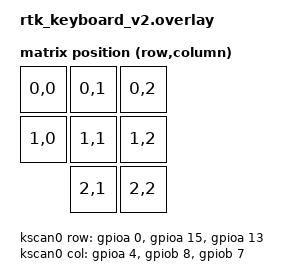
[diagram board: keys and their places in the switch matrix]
#include <dt-bindings/zmk/matrix_transform.h>
#include <dt-bindings/led/led.h>
#include <zephyr/dt-bindings/gpio/realtek-rtl87x2g-gpio.h>

&gpioa {
    status = "okay";
};
&gpiob {
    status = "okay";
};
&usb {
    status = "okay";
};
&timer2 {
    status = "okay";
    prescaler = <1>;
    pwm2: pwm2 {
        status = "okay";
        pinctrl-0 = <&pwm2_default>;
        pinctrl-names = "default";
    };
};
&timer3 {
    status = "okay";
    prescaler = <1>;
    pwm3: pwm3 {
        status = "okay";
        pinctrl-0 = <&pwm3_default>;
        pinctrl-names = "default";
    };
};

&timer4 {
    status = "okay";
    prescaler = <1>;
    pwm4: pwm4 {
        status = "okay";
        pinctrl-0 = <&pwm4_default>;
        pinctrl-names = "default";
    };
};

&corewdt {
    status = "okay";
    initial-timeout-ms = <5000>;
};

/ {
    aliases {
        watchdog = &corewdt;
    };
};

&pinctrl {
    pwm2_default: pwm2_default {
        group1 {
            psels = <RTL87X2G_PSEL(TIMER_PWM2, P2_4,DIR_OUT, DRV_LOW, PULL_DOWN)>;
        };
    };
    pwm3_default: pwm3_default {
        group1 {
            psels = <RTL87X2G_PSEL(TIMER_PWM3, P2_3,DIR_OUT, DRV_LOW, PULL_DOWN)>;
        };
    };
    pwm4_default: pwm4_default {
        group1 {
            psels = <RTL87X2G_PSEL(TIMER_PWM4, P9_3,DIR_OUT, DRV_LOW, PULL_DOWN)>;
        };
    };
};

&adc {
    pinctrl-0 = <&adc_default>;
    pinctrl-names = "default";
    #address-cells = <1>;
    #size-cells = <0>;
    status = "okay";
    is-bypass-mode = <0x4>;
    channel@2 {
        reg = <2>;
        zephyr,gain = "ADC_GAIN_1";
        zephyr,reference = "ADC_REF_INTERNAL";
        zephyr,acquisition-time = <ADC_ACQ_TIME_DEFAULT>;
        zephyr,resolution = <12>;
    };
};
/ {
    chosen {
        zmk,kscan = &kscan0;
        zmk,matrix-transform = &default_transform;
        zmk,battery = &vbatt;
        //zmk,backlight = &backlight;
    };

    vbatt: vbatt {
        compatible = "zmk,battery-voltage-divider";
        io-channels = <&adc 2>;
        output-ohms = <100000>;
        full-ohms = <(100000 + 100000)>;
    };

    battery_pwm_leds: pwmleds {
        compatible = "pwm-leds";
        pwm_led_0 {
            pwms = <&pwm2 0 10000 PWM_POLARITY_INVERTED>;
        };
        pwm_led_1 {
            pwms = <&pwm3 0 10000 PWM_POLARITY_INVERTED>;
        };
        pwm_led_2 {
            pwms = <&pwm4 0 10000 PWM_POLARITY_INVERTED>;
        };
    };

    mode_monitor: mode_monitor {
        compatible = "zmk,mode-monitor-pin";
        ble-gpios = <&gpioa 9 (GPIO_ACTIVE_HIGH | RTL87X2G_GPIO_INPUT_DEBOUNCE_MS(8))>;
        ppt-gpios = <&gpioa 8 (GPIO_ACTIVE_HIGH | RTL87X2G_GPIO_INPUT_DEBOUNCE_MS(8))>;
        detect-usb-gpios = <&gpiob 28 (GPIO_ACTIVE_HIGH | RTL87X2G_GPIO_INPUT_DEBOUNCE_MS(20))>;
        win2mac-gpios = <&gpioa 31 (GPIO_ACTIVE_HIGH | RTL87X2G_GPIO_INPUT_DEBOUNCE_MS(8))>;
        mptest-gpios = <&gpioa 25 GPIO_ACTIVE_HIGH>,
                       <&gpioa 24 GPIO_ACTIVE_HIGH>;
    };

    ppt: ppt {
        compatible = "zmk,ppt-node";
        enh-timers = <&timer8 &timer9>;
        status = "okay";
    };

    gpio_leds: gpio_leds {
        compatible = "zmk,gpio-leds-all";
        pwr-gpios = <&gpiob 29 GPIO_ACTIVE_HIGH>;
        cap-gpios = <&gpioa 16 GPIO_ACTIVE_HIGH>;
        num-gpios = <&gpioa 28 GPIO_ACTIVE_HIGH>;
        ble-gpios = <&gpioa 27 GPIO_ACTIVE_HIGH>;
        ppt-gpios = <&gpioa 26 GPIO_ACTIVE_HIGH>;
        other-gpios = <&gpioa 25 GPIO_ACTIVE_HIGH>,
                      <&gpioa 24 GPIO_ACTIVE_HIGH>,
                      <&gpioa 23 GPIO_ACTIVE_HIGH>;
    };

    default_transform: matrix_transform {
        compatible = "zmk,matrix-transform";
        rows = <3>;
        columns = <3>;
        map = <
            RC(0,0) RC(0,1) RC(0,2) //RC(0,3) RC(0,4) RC(0,5) RC(0,6) RC(0,7) RC(0,8)          RC(0,10) RC(0,11) RC(0,12) RC(0,13) RC(0,14)
            RC(1,0) RC(1,1) RC(1,2) //RC(1,3) RC(1,4) RC(1,5) RC(1,6) RC(1,7)         RC(1,9)  RC(1,10) RC(1,11) RC(1,12) RC(1,13) RC(1,14) RC(1,15)
                    RC(2,1) RC(2,2) //RC(2,3) RC(2,4) RC(2,5) RC(2,6) RC(2,7) RC(2,8) RC(2,9)  RC(2,10) RC(2,11) RC(2,12) RC(2,13)          RC(2,15)
            //RC(3,0) RC(3,1)         RC(3,3) RC(3,4) RC(3,5) RC(3,6) RC(3,7) RC(3,8) RC(3,9)  RC(3,10) RC(3,11) RC(3,12) RC(3,13)
            //RC(4,0) RC(4,1) RC(4,2) RC(4,3) RC(4,4) RC(4,5) RC(4,6)                 RC(4,9)  RC(4,10) RC(4,11) RC(4,12) RC(4,13)
            //RC(5,0)                         RC(5,4) RC(5,5)         RC(5,7) RC(5,8) RC(5,9)  RC(5,10) RC(5,11) RC(5,12) RC(5,13)          RC(5,15)
            //RC(6,0) RC(6,1) RC(6,2) RC(6,3) RC(6,4) RC(6,5) RC(6,6) RC(6,7)         RC(6,9)  RC(6,10) RC(6,11) RC(6,12) RC(6,13)
            //RC(7,0) RC(7,1) RC(7,2) RC(7,3) RC(7,4) RC(7,5) RC(7,6) RC(7,7) RC(7,8) RC(7,9)  RC(7,10) RC(7,11) RC(7,12)          RC(7,14)
        >;
    };

        kscan0: kscan0 {
        compatible = "zmk,kscan-gpio-matrix";
        debounce-press-ms = <10>;
        debounce-release-ms = <10>;
        debounce-scan-period-ms = <10>;
        wakeup-source;
        diode-direction = "col2row";

       col-gpios
           = < &gpioa   4    GPIO_ACTIVE_HIGH>,  //P0_4
             < &gpiob   8    GPIO_ACTIVE_HIGH>,  //P4_3
             < &gpiob   7    GPIO_ACTIVE_HIGH>;  //P4_2
             //< &gpiob   6    GPIO_ACTIVE_HIGH>,  //P4_1
             //< &gpiob   5    GPIO_ACTIVE_HIGH>,  //P4_0
             //< &gpioa   6    GPIO_ACTIVE_HIGH>,  //P0_6
             //< &gpioa   5    GPIO_ACTIVE_HIGH>,  //P0_5
             ////<&gpiob   21   GPIO_ACTIVE_HIGH>, //col7, P9_0 ,P6_2 can not simultaneously mapped as gpio
             //< &gpiob   26   GPIO_ACTIVE_HIGH>,  //P6_7
             //< &gpioa   10   GPIO_ACTIVE_HIGH>,  //P1_2
             //< &gpiob   24   GPIO_ACTIVE_HIGH>,  //P6_5
             //< &gpiob   22   GPIO_ACTIVE_HIGH>,  //P6_3
             //< &gpiob   21   GPIO_ACTIVE_HIGH>,  //P6_2
             //< &gpiob   20   GPIO_ACTIVE_HIGH>,  //P6_1
             ////< &gpiob   22 GPIO_ACTIVE_HIGH>,  //col14, P9_1 ,P6_3 can not simultaneously mapped as gpio
             //< &gpiob   23   GPIO_ACTIVE_HIGH>,  //P6_4
             //< &gpioa   2    GPIO_ACTIVE_HIGH>,  //P0_2
             //< &gpioa   1    GPIO_ACTIVE_HIGH>;  //P0_1
       row-gpios
           = < &gpioa   0    GPIO_ACTIVE_HIGH>,
            < &gpioa    15   GPIO_ACTIVE_HIGH>,
            < &gpioa    13   GPIO_ACTIVE_HIGH>;
            //< &gpiob    4    GPIO_ACTIVE_HIGH>,
            //< &gpiob    3    GPIO_ACTIVE_HIGH>,
            //< &gpiob    2    GPIO_ACTIVE_HIGH>,
            //< &gpiob    1    GPIO_ACTIVE_HIGH>,
            //< &gpiob    0    GPIO_ACTIVE_HIGH>;
    };
 };


&pinctrl {
    adc_default: adc_default {
        group1 {
             psels = <RTL87X2G_PSEL(SW_MODE, P2_2, DIR_IN, DRV_LOW, PULL_NONE)>;
        };
    };
};

&zephyr_udc0 {
	cdc_acm_uart0 {
		compatible = "zephyr,cdc-acm-uart";
	};
};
